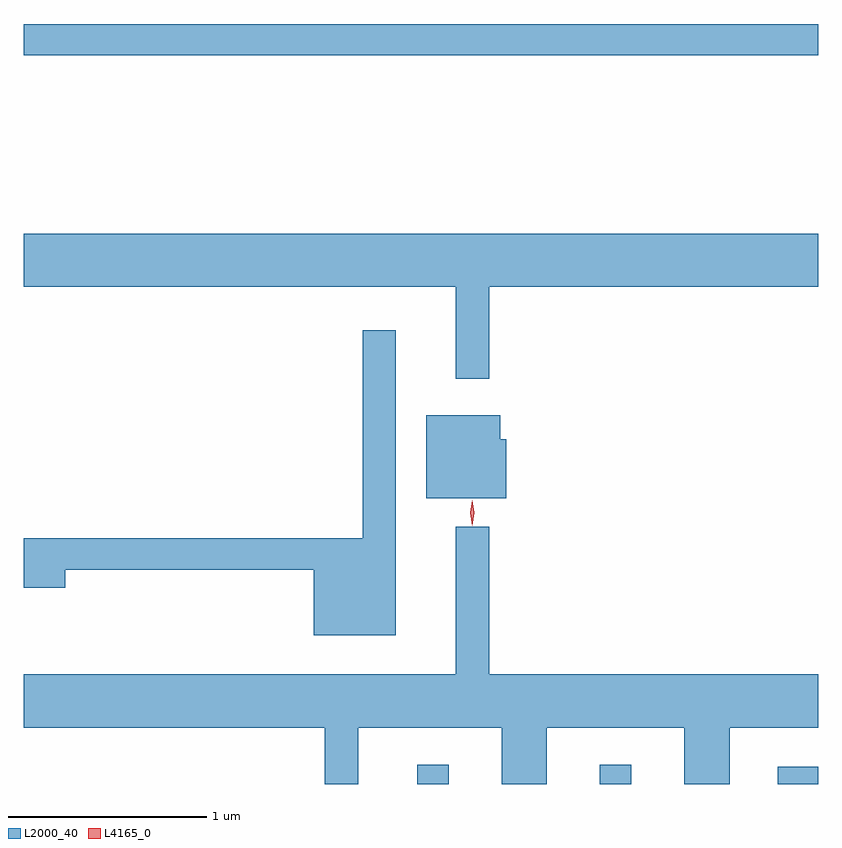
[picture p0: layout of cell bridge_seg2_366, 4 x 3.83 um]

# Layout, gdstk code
import gdstk
lib = gdstk.Library(unit=1e-6, precision=1e-09)
def R(c, l, rs):  # rectangles x0, y0, x1, y1
    for r in rs: c.add(gdstk.rectangle(r[:2], r[2:], *l))
def P(c, l, *ps):  # polygons
    for p in ps: c.add(gdstk.Polygon(p, *l))
L2000_40 = (2000, 40)
L4165_0 = (4165, 0)

bridge_seg2_366 = lib.new_cell('bridge_seg2_366')
R(bridge_seg2_366, L2000_40, [(661.296,1012.512,661.454,1012.608), (662.216,1012.512,662.374,1012.608), (663.111,1012.512,663.315,1012.599), (659.315,1016.181,663.315,1016.339)])
P(bridge_seg2_366, L2000_40, [(661.659,1015.016),(663.315,1015.016),(663.315,1015.284),(659.315,1015.284),(659.315,1015.016),(661.491,1015.016),(661.491,1014.553),(661.659,1014.553)],
  [(661.189,1014.798),(661.021,1014.798),(661.021,1013.749),(659.315,1013.749),(659.315,1013.501),(659.524,1013.501),(659.524,1013.591),(660.776,1013.591),(660.776,1013.261),(661.189,1013.261)],
  [(661.744,1014.249),(661.714,1014.249),(661.714,1014.369),(661.341,1014.369),(661.341,1013.951),(661.744,1013.951)],
  [(660.999,1012.796),(661.721,1012.796),(661.721,1012.512),(661.949,1012.512),(661.949,1012.796),(662.641,1012.796),(662.641,1012.512),(662.869,1012.512),(662.869,1012.796),(663.315,1012.796),(663.315,1013.064),(661.659,1013.064),(661.659,1013.808),(661.491,1013.808),(661.491,1013.064),(659.315,1013.064),(659.315,1012.796),(660.831,1012.796),(660.831,1012.512),(660.999,1012.512)])
P(bridge_seg2_366, L4165_0, [(661.572,1013.813),(661.562,1013.877),(661.572,1013.941),(661.572,1013.941),(661.573,1013.941),(661.582,1013.877),(661.573,1013.813),(661.573,1013.813)])

lib.write_gds('bridge_seg2_366.gds')
